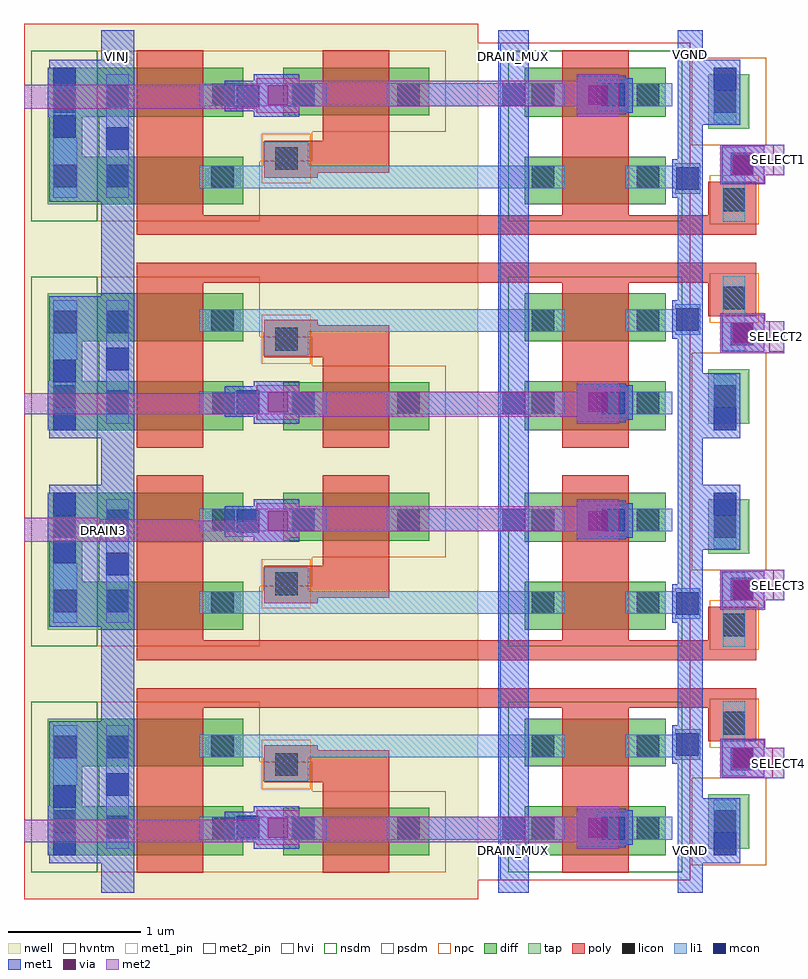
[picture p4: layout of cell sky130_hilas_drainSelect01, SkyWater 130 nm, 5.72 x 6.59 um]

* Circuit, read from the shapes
.subckt sky130_hilas_drainSelect01 DRAIN3 DRAIN_MUX SELECT1 SELECT2 SELECT3 SELECT4 VGND VINJ
XM1 n1 SELECT4 DRAIN_MUX VGND sky130_fd_pr__nfet_g5v0d10v5 w=0.37 l=0.5
XM2 VGND SELECT4 n2 VGND sky130_fd_pr__nfet_g5v0d10v5 w=0.36 l=0.5
XM3 VGND SELECT3 n3 VGND sky130_fd_pr__nfet_g5v0d10v5 w=0.36 l=0.5
XM4 DRAIN3 SELECT3 DRAIN_MUX VGND sky130_fd_pr__nfet_g5v0d10v5 w=0.37 l=0.5
XM5 n4 SELECT2 DRAIN_MUX VGND sky130_fd_pr__nfet_g5v0d10v5 w=0.37 l=0.5
XM6 VGND SELECT2 n5 VGND sky130_fd_pr__nfet_g5v0d10v5 w=0.36 l=0.5
XM7 VGND SELECT1 n6 VGND sky130_fd_pr__nfet_g5v0d10v5 w=0.36 l=0.5
XM8 n7 SELECT1 DRAIN_MUX VGND sky130_fd_pr__nfet_g5v0d10v5 w=0.37 l=0.5
XM9 n1 SELECT4 VINJ VINJ sky130_fd_pr__pfet_g5v0d10v5 w=0.37 l=0.5
XM10 n2 SELECT4 VINJ VINJ sky130_fd_pr__pfet_g5v0d10v5 w=0.36 l=0.5
XM11 n3 SELECT3 VINJ VINJ sky130_fd_pr__pfet_g5v0d10v5 w=0.36 l=0.5
XM12 DRAIN3 SELECT3 VINJ VINJ sky130_fd_pr__pfet_g5v0d10v5 w=0.37 l=0.5
XM13 n4 SELECT2 VINJ VINJ sky130_fd_pr__pfet_g5v0d10v5 w=0.37 l=0.5
XM14 n5 SELECT2 VINJ VINJ sky130_fd_pr__pfet_g5v0d10v5 w=0.36 l=0.5
XM15 n6 SELECT1 VINJ VINJ sky130_fd_pr__pfet_g5v0d10v5 w=0.36 l=0.5
XM16 n7 SELECT1 VINJ VINJ sky130_fd_pr__pfet_g5v0d10v5 w=0.37 l=0.5
XM17 DRAIN_MUX n2 n1 VINJ sky130_fd_pr__pfet_g5v0d10v5 w=0.36 l=0.5
XM18 DRAIN_MUX n3 DRAIN3 VINJ sky130_fd_pr__pfet_g5v0d10v5 w=0.36 l=0.5
XM19 DRAIN_MUX n5 n4 VINJ sky130_fd_pr__pfet_g5v0d10v5 w=0.36 l=0.5
XM20 DRAIN_MUX n6 n7 VINJ sky130_fd_pr__pfet_g5v0d10v5 w=0.36 l=0.5
.ends

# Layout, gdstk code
import gdstk
lib = gdstk.Library(unit=1e-6, precision=1e-09)
def R(c, l, rs):  # rectangles x0, y0, x1, y1
    for r in rs: c.add(gdstk.rectangle(r[:2], r[2:], *l))
nwell = (64, 20)
diff = (65, 20)
tap = (65, 44)
poly = (66, 20)
licon = (66, 44)
li1 = (67, 20)
mcon = (67, 44)
met1_pin = (68, 16)
met1 = (68, 20)
via = (68, 44)
met2_pin = (69, 16)
met2 = (69, 20)
hvi = (75, 20)
nsdm = (93, 44)
psdm = (94, 20)
npc = (95, 20)
hvntm = (125, 20)

sky130_hilas_li2m1 = lib.new_cell('sky130_hilas_li2m1')
R(sky130_hilas_li2m1, li1, [(-0.08,-0.05,0.11,0.18)])
R(sky130_hilas_li2m1, mcon, [(-0.07,-0.02,0.1,0.15)])
R(sky130_hilas_li2m1, met1, [(-0.1,-0.08,0.13,0.21)])

sky130_hilas_tgatevinj01 = lib.new_cell('sky130_hilas_TgateVinj01')
R(sky130_hilas_tgatevinj01, nwell, [(-2.32,-0.45,1.1,1.24)])
R(sky130_hilas_tgatevinj01, diff, [(-1.77,-0.12,-0.67,0.25), (-0.37,-0.12,0.73,0.24), (1.45,-0.12,2.51,0.25), (-1.77,0.55,-0.67,0.91), (1.45,0.55,2.51,0.91)])
R(sky130_hilas_tgatevinj01, tap, [(-2.14,-0.12,-1.77,0.25), (2.83,-0.07,3.14,0.34), (-2.14,0.25,-1.88,0.55), (-2.14,0.55,-1.77,0.91)])
R(sky130_hilas_tgatevinj01, poly, [(-1.47,-0.25,-0.97,0.99), (-0.07,-0.25,0.43,0.43), (1.73,-0.25,2.23,0.99), (-0.51,0.43,0.43,0.67), (-0.51,0.67,-0.11,0.71), (2.83,0.74,3.19,0.99), (-1.47,0.99,3.19,1.14)])
R(sky130_hilas_tgatevinj01, licon, [(-0.905,0,-0.735,0.17), (-0.3,0,-0.13,0.17), (0.49,0,0.66,0.17), (1.5,0,1.67,0.17), (2.29,0,2.46,0.17), (-1.7,0.01,-1.53,0.18), (-2.1,0.05,-1.93,0.22), (2.87,0.05,3.04,0.22), (-0.43,0.48,-0.26,0.65), (-2.095,0.61,-1.925,0.78), (-1.7,0.61,-1.53,0.78), (-0.91,0.62,-0.74,0.79), (1.5,0.62,1.67,0.79), (2.29,0.62,2.46,0.79), (2.94,0.79,3.11,0.96)])
R(sky130_hilas_tgatevinj01, li1, [(-2.1,-0.12,-1.93,0.41), (2.87,-0.12,3.04,0.3), (-1.7,-0.07,-1.53,0.86), (1.99,-0.03,2.23,0), (-1,0,-0.04,0.17), (0.41,0,1.75,0.17), (1.99,0,2.56,0.17), (-0.72,0.17,-0.55,0.18), (1.99,0.17,2.23,0.21), (-2.1,0.41,-1.92,0.86), (-0.52,0.44,-0.18,0.62), (2.94,0.48,3.11,0.52), (2.94,0.52,3.17,0.69), (-1,0.62,1.75,0.79), (2.21,0.62,2.58,0.79), (2.94,0.69,3.11,1.04)])
R(sky130_hilas_tgatevinj01, mcon, [(-2.1,-0.12,-1.93,0.05), (2.87,-0.12,3.04,0.05), (1.28,0,1.45,0.17), (2.03,0,2.2,0.17), (-0.72,0.01,-0.55,0.18), (-2.1,0.24,-1.93,0.41), (-1.7,0.33,-1.53,0.5), (3,0.52,3.17,0.69)])
R(sky130_hilas_tgatevinj01, met1, [(-1.74,-0.4,-1.49,-0.18), (1.25,-0.4,1.48,1.25), (2.6,-0.4,2.79,-0.18), (-2.13,-0.18,-1.49,-0.11), (2.6,-0.18,3.07,0.31), (-2.14,-0.11,-1.49,0.25), (-0.59,-0.07,-0.25,-0.02), (1.84,-0.06,2.21,-0.04), (1.84,-0.04,2.26,0.22), (-0.81,-0.02,-0.25,0), (-0.81,0,-0.13,0.17), (-0.81,0.17,-0.25,0.21), (-0.59,0.21,-0.25,0.25), (1.84,0.22,2.21,0.23), (-2.13,0.25,-1.49,0.89), (2.6,0.31,2.79,1.25), (2.93,0.47,3.25,0.75), (-1.74,0.89,-1.49,1.24)])
R(sky130_hilas_tgatevinj01, via, [(-0.485,0.015,-0.335,0.165), (1.925,0.015,2.075,0.165), (3.015,0.535,3.165,0.685)])
R(sky130_hilas_tgatevinj01, met2, [(1.84,-0.07,2.16,-0.02), (-0.57,-0.04,-0.25,-0.02), (-0.57,-0.02,2.16,0.17), (-0.57,0.17,-0.25,0.22), (1.84,0.17,2.16,0.25), (2.92,0.46,3.36,0.69), (2.92,0.69,3.26,0.76)])
R(sky130_hilas_tgatevinj01, hvi, [(-2.32,-0.45,1.1,-0.305), (-2.32,-0.305,2.695,1.095), (-2.32,1.095,1.1,1.24)])
R(sky130_hilas_tgatevinj01, nsdm, [(-2.265,-0.245,-1.77,0.25), (1.325,-0.245,2.635,1.035), (-2.265,0.25,-1.755,0.55), (-2.265,0.55,-1.77,1.035)])
R(sky130_hilas_tgatevinj01, psdm, [(-1.77,-0.245,0.855,0.365), (2.705,-0.195,3.265,0.465), (-1.77,0.365,-0.15,0.585), (-1.77,0.585,-0.545,1.035)])
R(sky130_hilas_tgatevinj01, npc, [(-0.53,0.38,-0.16,0.75), (2.84,0.69,3.21,1.06)])
R(sky130_hilas_tgatevinj01, hvntm, [(1.265,-0.305,2.695,1.095)])
sky130_hilas_tgatevinj01.add(gdstk.Reference(sky130_hilas_li2m1, (2.66,0.65)))

sky130_hilas_drainselect = lib.new_cell('sky130_hilas_drainSelect01')
R(sky130_hilas_drainselect, nwell, [(10.5,1.4,13.92,1.42), (10.5,4.61,13.92,4.62)])
R(sky130_hilas_drainselect, met1_pin, [(14.07,0.05,14.3,0.13), (15.42,0.05,15.61,0.12), (11.08,6.03,11.33,6.1), (14.07,6.03,14.3,6.1), (15.42,6.05,15.61,6.1)])
R(sky130_hilas_drainselect, met1, [(14.07,0.05,14.3,0.13), (15.42,0.05,15.61,0.12), (11.08,1.41,11.33,1.42), (11.08,4.61,11.33,4.62), (11.08,6.03,11.33,6.1), (14.07,6.03,14.3,6.1), (15.42,6.05,15.61,6.1)])
R(sky130_hilas_drainselect, met2_pin, [(16.13,0.63,16.22,0.86), (16.14,1.97,16.22,2.2), (11.07,2.41,11.12,2.58), (16.11,3.84,16.22,4.07), (16.14,5.17,16.22,5.4)])
R(sky130_hilas_drainselect, met2, [(10.5,0.15,12.28,0.32), (16.13,0.63,16.22,0.86), (16.14,1.97,16.22,2.2), (10.5,2.41,12.5,2.57), (10.5,2.57,11.77,2.58), (10.5,2.58,11.07,2.59), (10.5,3.37,12.28,3.53), (16.07,3.83,16.22,4.07), (16.14,5.17,16.22,5.4), (10.5,5.67,12.28,5.85)])
R(sky130_hilas_drainselect, hvi, [(13.92,1.265,15.515,1.41), (10.5,1.41,15.515,1.42), (13.92,1.42,15.515,1.565), (13.92,2.965,15.515,3.065), (13.92,4.465,15.515,4.61), (10.5,4.61,15.515,4.62), (13.92,4.62,15.515,4.765)])
R(sky130_hilas_drainselect, nsdm, [(10.555,2.905,11.05,3.125), (14.145,2.905,15.455,3.125)])
R(sky130_hilas_drainselect, psdm, [(15.525,2.855,16.085,3.175), (11.05,2.905,13.675,3.125)])
R(sky130_hilas_drainselect, hvntm, [(14.085,1.265,15.515,1.565), (14.085,2.965,15.515,3.065), (14.085,4.465,15.515,4.765)])
sky130_hilas_drainselect.add(gdstk.Reference(sky130_hilas_tgatevinj01, (12.82,5.86), x_reflection=True))
sky130_hilas_drainselect.add(gdstk.Reference(sky130_hilas_tgatevinj01, (12.82,3.37)))
sky130_hilas_drainselect.add(gdstk.Reference(sky130_hilas_tgatevinj01, (12.82,0.17)))
sky130_hilas_drainselect.add(gdstk.Reference(sky130_hilas_tgatevinj01, (12.82,2.66), x_reflection=True))
sky130_hilas_drainselect.add(gdstk.Label('DRAIN3', (11.095,2.495), layer=69, texttype=16))
sky130_hilas_drainselect.add(gdstk.Label('VINJ', (11.205,6.065), layer=68, texttype=16))
sky130_hilas_drainselect.add(gdstk.Label('DRAIN_MUX', (14.185,6.065), layer=68, texttype=16))
sky130_hilas_drainselect.add(gdstk.Label('DRAIN_MUX', (14.185,0.09), layer=68, texttype=16))
sky130_hilas_drainselect.add(gdstk.Label('VGND', (15.515,0.085), layer=68, texttype=16))
sky130_hilas_drainselect.add(gdstk.Label('VGND', (15.515,6.075), layer=68, texttype=16))
sky130_hilas_drainselect.add(gdstk.Label('SELECT2', (16.165,3.955), layer=69, texttype=16))
sky130_hilas_drainselect.add(gdstk.Label('SELECT1', (16.18,5.285), layer=69, texttype=16))
sky130_hilas_drainselect.add(gdstk.Label('SELECT3', (16.18,2.085), layer=69, texttype=16))
sky130_hilas_drainselect.add(gdstk.Label('SELECT4', (16.175,0.745), layer=69, texttype=16))

lib.write_gds('sky130_hilas_drainSelect01.gds')
